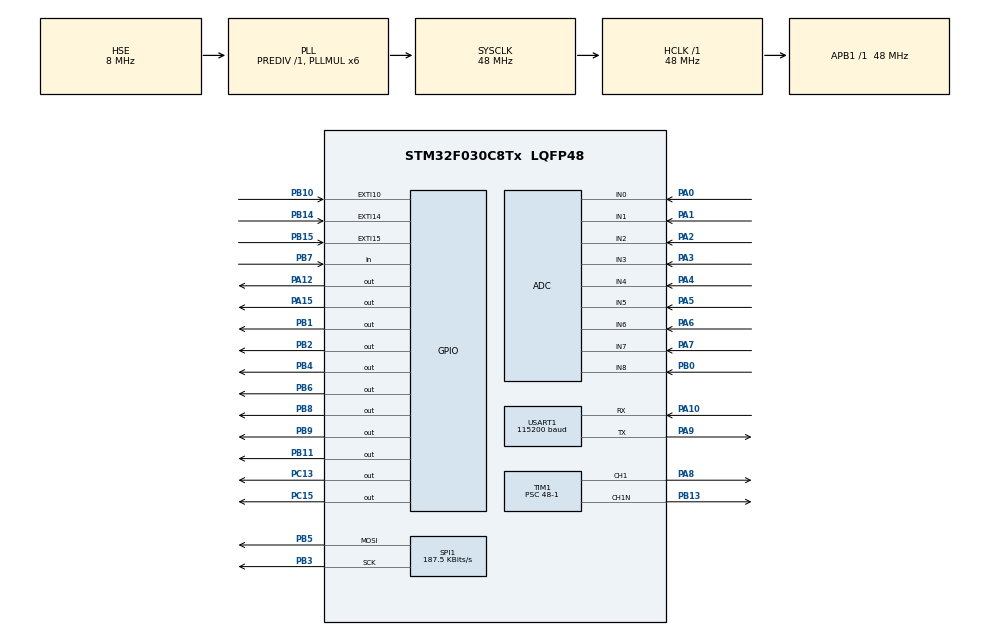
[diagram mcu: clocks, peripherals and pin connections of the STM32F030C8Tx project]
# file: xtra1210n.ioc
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ADC.ContinuousConvMode=ENABLE
ADC.DMAContinuousRequests=ENABLE
ADC.DiscontinuousConvMode=DISABLE
ADC.EOCSelection=ADC_EOC_SINGLE_CONV
ADC.SamplingTime=ADC_SAMPLETIME_239CYCLES_5
Dma.ADC.0.Direction=DMA_PERIPH_TO_MEMORY
Dma.ADC.0.Instance=DMA1_Channel1
Dma.ADC.0.MemDataAlignment=DMA_MDATAALIGN_HALFWORD
Dma.ADC.0.MemInc=DMA_MINC_ENABLE
Dma.ADC.0.Mode=DMA_CIRCULAR
Dma.ADC.0.PeriphDataAlignment=DMA_PDATAALIGN_HALFWORD
Dma.ADC.0.PeriphInc=DMA_PINC_DISABLE
Dma.ADC.0.Priority=DMA_PRIORITY_HIGH
Dma.Request0=ADC
Dma.Request1=USART1_RX
Dma.USART1_RX.1.Direction=DMA_PERIPH_TO_MEMORY
Dma.USART1_RX.1.Instance=DMA1_Channel3
Dma.USART1_RX.1.MemDataAlignment=DMA_MDATAALIGN_BYTE
Dma.USART1_RX.1.MemInc=DMA_MINC_ENABLE
Dma.USART1_RX.1.Mode=DMA_CIRCULAR
Dma.USART1_RX.1.PeriphDataAlignment=DMA_PDATAALIGN_BYTE
Dma.USART1_RX.1.PeriphInc=DMA_PINC_DISABLE
Dma.USART1_RX.1.Priority=DMA_PRIORITY_VERY_HIGH
Mcu.Family=STM32F0
Mcu.Name=STM32F030C8Tx
Mcu.Package=LQFP48
NVIC.DMA1_Channel1_IRQn=true\:0\:0\:false\:false\:true\:false\:true
NVIC.DMA1_Channel2_3_IRQn=true\:0\:0\:false\:false\:true\:false\:true
NVIC.EXTI4_15_IRQn=true\:0\:0\:false\:false\:true\:true\:true
NVIC.RTC_IRQn=true\:0\:0\:false\:false\:true\:true\:true
NVIC.TIM3_IRQn=true\:0\:0\:false\:false\:true\:true\:true
NVIC.USART1_IRQn=true\:0\:0\:false\:false\:true\:true\:true
PA0.Mode=IN0
PA0.Signal=ADC_IN0
PA1.Mode=IN1
PA1.Signal=ADC_IN1
PA10.Mode=Asynchronous
PA10.Signal=USART1_RX
PA12.Signal=GPIO_Output
PA13.Mode=Serial_Wire
PA13.Signal=SYS_SWDIO
PA14.Mode=Serial_Wire
PA14.Signal=SYS_SWCLK
PA15.PinState=GPIO_PIN_SET
PA15.Signal=GPIO_Output
PA2.Mode=IN2
PA2.Signal=ADC_IN2
PA3.Mode=IN3
PA3.Signal=ADC_IN3
PA4.Mode=IN4
PA4.Signal=ADC_IN4
PA5.Mode=IN5
PA5.Signal=ADC_IN5
PA6.Mode=IN6
PA6.Signal=ADC_IN6
PA7.Mode=IN7
PA7.Signal=ADC_IN7
PA8.Signal=S_TIM1_CH1
PA9.Mode=Asynchronous
PA9.Signal=USART1_TX
PB0.Mode=IN8
PB0.Signal=ADC_IN8
PB1.Signal=GPIO_Output
PB10.Signal=GPXTI10
PB11.Signal=GPIO_Output
PB13.Mode=PWM Generation1 CH1 CH1N
PB13.Signal=TIM1_CH1N
PB14.GPIO_ModeDefaultEXTI=GPIO_MODE_IT_FALLING
PB14.GPIO_PuPd=GPIO_PULLUP
PB14.Signal=GPXTI14
PB15.GPIO_ModeDefaultEXTI=GPIO_MODE_IT_FALLING
PB15.GPIO_PuPd=GPIO_PULLUP
PB15.Signal=GPXTI15
PB2.Signal=GPIO_Output
PB3.Mode=TX_Only_Simplex_Unidirect_Master
PB3.Signal=SPI1_SCK
PB4.Signal=GPIO_Output
PB5.Mode=TX_Only_Simplex_Unidirect_Master
PB5.Signal=SPI1_MOSI
PB6.Signal=GPIO_Output
PB7.Signal=GPIO_Input
PB8.Signal=GPIO_Output
PB9.Signal=GPIO_Output
PC13.Signal=GPIO_Output
PC15-OSC32_OUT.Signal=GPIO_Output
PF0-OSC_IN.Mode=HSE-External-Oscillator
PF0-OSC_IN.Signal=RCC_OSC_IN
PF1-OSC_OUT.Mode=HSE-External-Oscillator
PF1-OSC_OUT.Signal=RCC_OSC_OUT
ProjectManager.HeapSize=0x200
ProjectManager.StackSize=0x400
ProjectManager.TargetToolchain=Makefile
RCC.AHBFreq_Value=48000000
RCC.APB1Freq_Value=48000000
RCC.APB1TimFreq_Value=48000000
RCC.HCLKFreq_Value=48000000
RCC.PLLMUL=RCC_PLL_MUL6
RCC.PLLSourceVirtual=RCC_PLLSOURCE_HSE
RCC.SYSCLKFreq_VALUE=48000000
RCC.SYSCLKSource=RCC_SYSCLKSOURCE_PLLCLK
RTC.Alarm-Alarm\ A=RTC_ALARM_A
RTC.AlarmMaskMinutes-Alarm\ A=RTC_ALARMMASK_MINUTES
RTC.AlarmMaskSeconds-Alarm\ A=RTC_ALARMMASK_SECONDS
RTC.Date=17
RTC.DayLightSaving=RTC_DAYLIGHTSAVING_NONE
RTC.Format=RTC_FORMAT_BIN
RTC.Hours=6
RTC.Minutes=3
RTC.Month=RTC_MONTH_MARCH
RTC.WeekDay=RTC_WEEKDAY_WEDNESDAY
SH.S_TIM1_CH1.0=TIM1_CH1,PWM Generation1 CH1 CH1N
SPI1.BaudRatePrescaler=SPI_BAUDRATEPRESCALER_256
SPI1.CLKPhase=SPI_PHASE_2EDGE
SPI1.CLKPolarity=SPI_POLARITY_HIGH
SPI1.CalculateBaudRate=187.5 KBits/s
SPI1.DataSize=SPI_DATASIZE_13BIT
SPI1.Direction=SPI_DIRECTION_2LINES
SPI1.Mode=SPI_MODE_MASTER
SPI1.TIMode=SPI_TIMODE_DISABLE
SPI1.VirtualType=VM_MASTER
TIM1.Channel-PWM\ Generation1\ CH1\ CH1N=TIM_CHANNEL_1
TIM1.DeadTime=128
TIM1.OCIdleState_1=TIM_OCIDLESTATE_RESET
TIM1.OCNIdleState_1=TIM_OCNIDLESTATE_RESET
TIM1.OCNPolarity_1=TIM_OCNPOLARITY_HIGH
TIM1.OCPolarity_1=TIM_OCPOLARITY_HIGH
TIM1.Period=250-1
TIM1.Prescaler=48-1
TIM1.Pulse-PWM\ Generation1\ CH1\ CH1N=200
TIM3.Period=10-1
TIM3.Prescaler=48000-1
USART1.BaudRate=115200
USART1.VirtualMode-Asynchronous=VM_ASYNC
VP_ADC_TempSens_Input.Mode=IN-TempSens
VP_ADC_Vref_Input.Mode=IN-Vrefint
VP_RTC_VS_RTC_Activate.Mode=RTC_Enabled
VP_RTC_VS_RTC_Alarm_A_Intern.Mode=Alarm A
VP_RTC_VS_RTC_Calendar.Mode=RTC_Calendar
VP_TIM1_VS_ClockSourceINT.Mode=Internal
VP_TIM3_VS_ClockSourceINT.Mode=Internal
board=custom

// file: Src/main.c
/* USER CODE BEGIN Header */
/**
  ******************************************************************************
  * @file           : main.c
  * @brief          : Main program body
  ******************************************************************************
  * @attention
  *
  * <h2><center>&copy; Copyright (c) 2021 STMicroelectronics.
  * All rights reserved.</center></h2>
  *
  * This software component is licensed by ST under BSD 3-Clause license,
  * the "License"; You may not use this file except in compliance with the
  * License. You may obtain a copy of the License at:
  *                        opensource.org/licenses/BSD-3-Clause
  *
  ******************************************************************************
  */
/* USER CODE END Header */
#include "main.h"

/* USER CODE BEGIN Includes */
#include "cs1621.h"
#include "values.h"
#include "mppt.h"
#include "adc.h"
#include "buttons.h"
#include "rtc.h"
//#define UART_DEBUG_OUTPUT
/* USER CODE END Includes */

ADC_HandleTypeDef hadc;
DMA_HandleTypeDef hdma_adc;

RTC_HandleTypeDef hrtc;

SPI_HandleTypeDef hspi1;

TIM_HandleTypeDef htim1;
TIM_HandleTypeDef htim3;

UART_HandleTypeDef huart1;
DMA_HandleTypeDef hdma_usart1_rx;

/* USER CODE BEGIN PV */

#define UART_BUFFER_SIZE            256
#define LED_RED_ON                  HAL_GPIO_WritePin(GPIOB, GPIO_PIN_11, GPIO_PIN_SET);
#define LED_RED_OFF                 HAL_GPIO_WritePin(GPIOB, GPIO_PIN_11, GPIO_PIN_RESET);
uint8_t UART_Buffer[UART_BUFFER_SIZE];

uint8_t g_uart_free=0xff;
uint8_t g_isDataReceived=0;
uint8_t g_isUartRestartRequired=0xff;
uint8_t g_readyToSend=0;
uint8_t g_tx_buff[TRASNSMIT_DATA_MAX_LENGTH];
uint8_t g_tx_buff_length;
uint16_t g_adcVals[N_ADC_CHANNELS]={0};

mppt_handle_t hmppt;

/* USER CODE END PV */

void SystemClock_Config(void);
static void MX_GPIO_Init(void);
static void MX_DMA_Init(void);
static void MX_USART1_UART_Init(void);
static void MX_TIM1_Init(void);
static void MX_ADC_Init(void);
static void MX_SPI1_Init(void);
static void MX_RTC_Init(void);
static void MX_TIM3_Init(void);

int main(void)
{
  /* USER CODE BEGIN 1 */

  uint8_t hello[]="HELLO!\r\n";
  //uint8_t buffer[256];
  uint8_t valueToShow=0;
  halfWord_t cnt;
  //uint32_t power, power_max=0;
  //word_t tmp_w;

  /* USER CODE END 1 */

  /* MCU Configuration--------------------------------------------------------*/

  /* Reset of all peripherals, Initializes the Flash interface and the Systick. */
  HAL_Init();

  /* Configure the system clock */
  SystemClock_Config();

  /* Initialize all configured peripherals */
  MX_GPIO_Init();
  MX_DMA_Init();
  MX_USART1_UART_Init();
  MX_TIM1_Init();
  MX_ADC_Init();
  MX_SPI1_Init();
  MX_RTC_Init();
  MX_TIM3_Init();
  /* USER CODE BEGIN 2 */
  // init RTC
  HAL_RTC_AlarmAEventCallback(&hrtc);
  //init values with stored flash
  valuesInit();
  MPPT_Init(&hmppt);
  //swtch on backlight
  HAL_GPIO_WritePin(GPIOB, GPIO_PIN_4, GPIO_PIN_SET);
  //swtch on LEDG
  HAL_GPIO_WritePin(GPIOC, GPIO_PIN_13, GPIO_PIN_RESET);
  //swtch on LEDR
  LED_RED_ON
  HAL_Delay(500);
  //swtch off backlight
  HAL_GPIO_WritePin(GPIOB, GPIO_PIN_4, GPIO_PIN_RESET);
  //swtch off LEDG
  HAL_GPIO_WritePin(GPIOC, GPIO_PIN_13, GPIO_PIN_SET);
  //swtch off LEDR
  LED_RED_OFF

  //start TIM3 (1 second timer for energy computation)
  HAL_TIM_Base_Start_IT(&htim3);

  //__HAL_UART_CLEAR_IDLEFLAG(&huart1);
  //__HAL_UART_ENABLE_IT(&huart1, UART_IT_IDLE);   // enable idle line interrupt

// try
  //HAL_UARTEx_ReceiveToIdle_DMA(&huart1, g_request.buff, RECEIVED_DATA_MAX_LENGTH);
  //HAL_UART_Receive_DMA(&huart1, g_request.buff, RECEIVED_DATA_MAX_LENGTH);

  //hdma_usart1_rx.Instance->CCR &= ~DMA_CCR_HTIE;  // disable uart half tx interru

  HAL_Delay(1000);

  cs1621_init();
  ADC_Start();
  /* USER CODE END 2 */

  /* Infinite loop */
  /* USER CODE BEGIN WHILE */
  cnt.halfWord=0;
  valueToShow=3;
  while (1)
  {
    if (g_isUartRestartRequired){
        HAL_UART_DMAStop(&huart1);
        //HAL_Delay(10);
        huart1.hdmarx->Instance->CNDTR = 0;
        if(HAL_UARTEx_ReceiveToIdle_DMA(&huart1, g_request.buff, RECEIVED_DATA_MAX_LENGTH) == 0){
          g_isUartRestartRequired=0;
        }
    }
    HAL_GPIO_TogglePin(GPIOA, GPIO_PIN_12);
    //
    //cs1621_test(cnt);
    //ADC_Start();
    HAL_Delay(25);
    //HAL_ADC_Stop_DMA(&hadc);
    if(MPPT_Start(&hmppt)==MPPT_OK){
      if(hmppt.isMpptManual==0 && hmppt.isMpptSearchInitialRequest==0 && hmppt.isMpptSearchInProgress==0 ){
        if(MPPT_Adjust(&hmppt, +1)){
          MPPT_Adjust(&hmppt, -1);
        }
      } else {
        if(hmppt.isMpptSearchInitialRequest || hmppt.isMpptSearchInProgress){
          MPPT_SearchMax(&hmppt);
        }
      }
    }
    //battery voltage to display :
    switch(valueToShow){
    case 0:
      //cs1621_showValue(g_adcVals[1]*1967/10000);
      cs1621_showValue(g_realTimeData.par.batteryVoltage/10);
      cs1621_showUnits(CS1621_VOLTAGE);
      cs1621_showSource(CS1621_BATTERY);
      break;
    case 1:
      //cs1621_showValue(g_adcVals[0]*4962/10000);
      cs1621_showValue(g_realTimeData.par.pvArrayVoltage/10);
      cs1621_showUnits(CS1621_VOLTAGE);
      cs1621_showSource(CS1621_PV);
      break;
    case 2:
      //cs1621_showValue((((int16_t) (g_adcVals[5] - 0x170)))*40/1000);
      cs1621_showValue(g_realTimeData.par.batteryCurrent/10);
      //cs1621_showValue(-555);
      cs1621_showUnits(CS1621_CURRENT);
      cs1621_showSource(CS1621_BATTERY);
      break;
    case 3:
      cs1621_showValue(hmppt.pwm);
      cs1621_showUnits(CS1621_UNIT_NA);
      cs1621_showSource(CS1621_TYPE);
      break;

      //unused case
    case 4:
    //shows10.0A
      cs1621_showValue(g_ratedData[VAL_RTD_BATTERY_CURRENT].halfWord/10);
      cs1621_showUnits(CS1621_CURRENT);
      cs1621_showSource(CS1621_TYPE);
      /*shows 25.0
      tmp_w.halfWord.hwLo=g_ratedData[VAL_RTD_BATTERY_POWER_LO];
      tmp_w.halfWord.hwHi=g_ratedData[VAL_RTD_BATTERY_POWER_HI];
      cs1621_showValue(tmp_w.halfWord.hwLo.halfWord/100);
      cs1621_showUnits(CS1621_ENERGY);
      cs1621_showSource(CS1621_TYPE);*/
      break;
    }
    /*
   if(cnt.halfWord<12000){
      cs1621_showValue(MPPT_GetPwm());
      cs1621_showUnits(CS1621_UNIT_NA);
      cs1621_showSource(CS1621_TYPE);

   } else {
      cs1621_showValue(g_realTimeData[VAL_RTD_BATTERY_CURRENT].halfWord/10);
      //cs1621_showValue(-555);
      cs1621_showUnits(CS1621_CURRENT);
      cs1621_showSource(CS1621_BATTERY);
   }*/

    //SELECT BUTTON
    if(g_buttons.eventButt15pressed){
      g_buttons.eventButt15pressed=0;
      if(hmppt.isMpptManual){
        MPPT_Increment(&hmppt, 1);
      } else {
        if(++valueToShow > 3){
          valueToShow = 0;
        };
      }
      /*
      HAL_GPIO_TogglePin(GPIOC, GPIO_PIN_13);
      HAL_GPIO_WritePin(GPIOC, GPIO_PIN_15, GPIO_PIN_SET);
      power_max=0;
      pwm=249-1;
      isPwmSet=0;
      */

    }
    //WTF
    if(HAL_GPIO_ReadPin(GPIOB, GPIO_PIN_7)){
      //HAL_GPIO_WritePin(GPIOB, GPIO_PIN_4, GPIO_PIN_SET);
    } else {
      //HAL_GPIO_WritePin(GPIOB, GPIO_PIN_4, GPIO_PIN_RESET);
    }
    //ENTER BUTTON
    if(g_buttons.eventButt14pressed){
      g_buttons.eventButt14pressed=0;
      if(hmppt.isMpptManual){
        hmppt.isMpptManual=0;
        //swtch off LEDR
        LED_RED_OFF
      } else {
        //swtch on LEDR
        LED_RED_ON
        hmppt.isMpptSearchInitialRequest=0xff;
        //MPPT_Increment(1);
        hmppt.isMpptManual=0xff;
      }

      //HAL_GPIO_TogglePin(GPIOC, GPIO_PIN_13);
      //HAL_GPIO_WritePin(GPIOB, GPIO_PIN_6, GPIO_PIN_SET);
      //power_max=0;
      //isPwmSet=0;
      //if(++pwm > MPPT_MAX_VALUE){
      //  pwm = MPPT_MAX_VALUE;
      //};
    }

    #ifdef UART_DEBUG_OUTPUT
    strcpy(buffer,"");

    for (i = 0; i<N_ADC_CHANNELS; i++) {
      //HAL_Delay(100);
     // HAL_ADC_PollForConversion(&hadc, 100);
      //x[i]=HAL_ADC_GetValue(&hadc);
      //while(!g_uart_free);
      //g_uart_free=0;
      //HAL_GPIO_WritePin(GPIOB, GPIO_PIN_9, GPIO_PIN_SET);
      sprintf(buffer+strlen(buffer), "%01d:%03x ",i , g_adcVals[i]);
      //HAL_UART_Transmit_IT(&huart1, buffer, strlen(buffer));
    }

    //HAL_ADC_Stop(&hadc);
    while(!g_uart_free);
    g_uart_free=0;
    sprintf(buffer+strlen(buffer),hello);
    HAL_GPIO_WritePin(GPIOB, GPIO_PIN_9, GPIO_PIN_SET);
    HAL_UART_Transmit_IT(&huart1, buffer, strlen(buffer));
    #endif
    if(g_isDataReceived){
      g_isDataReceived = 0;
      processMessage(&huart1);
    }
    if(g_readyToSend){
      g_readyToSend=0;
      g_uart_free=0;
      HAL_GPIO_WritePin(GPIOB, GPIO_PIN_9, GPIO_PIN_SET);
      LED_RED_ON
      HAL_UART_Transmit_IT(&huart1, g_tx_buff, g_tx_buff_length);
    }
    if(cnt.halfWord++ > 15000){
      cnt.halfWord=0;
    };
    /*
    if(isPwmSet){
      __HAL_TIM_SetCompare(&htim1, TIM_CHANNEL_1, pwm_opt);
    } else {
      __HAL_TIM_SetCompare(&htim1, TIM_CHANNEL_1, pwm);
    }*/
    //__HAL_TIM_SetCompare(&htim1, TIM_CHANNEL_1, pwm);
    /*if(!(cnt.halfWord % 10)){
      pwm--;
    }*/
  }
    /* USER CODE END WHILE */

}

void SystemClock_Config(void)
{
  RCC_OscInitTypeDef RCC_OscInitStruct = {0};
  RCC_ClkInitTypeDef RCC_ClkInitStruct = {0};
  RCC_PeriphCLKInitTypeDef PeriphClkInit = {0};

  /** Initializes the RCC Oscillators according to the specified parameters
  * in the RCC_OscInitTypeDef structure.
  */
  RCC_OscInitStruct.OscillatorType = RCC_OSCILLATORTYPE_HSI14|RCC_OSCILLATORTYPE_LSI
                              |RCC_OSCILLATORTYPE_HSE;
  RCC_OscInitStruct.HSEState = RCC_HSE_ON;
  RCC_OscInitStruct.HSI14State = RCC_HSI14_ON;
  RCC_OscInitStruct.HSI14CalibrationValue = 16;
  RCC_OscInitStruct.LSIState = RCC_LSI_ON;
  RCC_OscInitStruct.PLL.PLLState = RCC_PLL_ON;
  RCC_OscInitStruct.PLL.PLLSource = RCC_PLLSOURCE_HSE;
  RCC_OscInitStruct.PLL.PLLMUL = RCC_PLL_MUL6;
  RCC_OscInitStruct.PLL.PREDIV = RCC_PREDIV_DIV1;
  if (HAL_RCC_OscConfig(&RCC_OscInitStruct) != HAL_OK)
  {
    Error_Handler();
  }
  /** Initializes the CPU, AHB and APB buses clocks
  */
  RCC_ClkInitStruct.ClockType = RCC_CLOCKTYPE_HCLK|RCC_CLOCKTYPE_SYSCLK
                              |RCC_CLOCKTYPE_PCLK1;
  RCC_ClkInitStruct.SYSCLKSource = RCC_SYSCLKSOURCE_PLLCLK;
  RCC_ClkInitStruct.AHBCLKDivider = RCC_SYSCLK_DIV1;
  RCC_ClkInitStruct.APB1CLKDivider = RCC_HCLK_DIV1;

  if (HAL_RCC_ClockConfig(&RCC_ClkInitStruct, FLASH_LATENCY_1) != HAL_OK)
  {
    Error_Handler();
  }
  PeriphClkInit.PeriphClockSelection = RCC_PERIPHCLK_USART1|RCC_PERIPHCLK_RTC;
  PeriphClkInit.Usart1ClockSelection = RCC_USART1CLKSOURCE_PCLK1;
  PeriphClkInit.RTCClockSelection = RCC_RTCCLKSOURCE_LSI;
  if (HAL_RCCEx_PeriphCLKConfig(&PeriphClkInit) != HAL_OK)
  {
    Error_Handler();
  }
}

static void MX_ADC_Init(void)
{

  ADC_ChannelConfTypeDef sConfig = {0};

  /** Configure the global features of the ADC (Clock, Resolution, Data Alignment and number of conversion)
  */
  hadc.Instance = ADC1;
  hadc.Init.ClockPrescaler = ADC_CLOCK_ASYNC_DIV1;
  hadc.Init.Resolution = ADC_RESOLUTION_12B;
  hadc.Init.DataAlign = ADC_DATAALIGN_RIGHT;
  hadc.Init.ScanConvMode = ADC_SCAN_DIRECTION_FORWARD;
  hadc.Init.EOCSelection = ADC_EOC_SINGLE_CONV;
  hadc.Init.LowPowerAutoWait = DISABLE;
  hadc.Init.LowPowerAutoPowerOff = DISABLE;
  hadc.Init.ContinuousConvMode = ENABLE;
  hadc.Init.DiscontinuousConvMode = DISABLE;
  hadc.Init.ExternalTrigConv = ADC_SOFTWARE_START;
  hadc.Init.ExternalTrigConvEdge = ADC_EXTERNALTRIGCONVEDGE_NONE;
  hadc.Init.DMAContinuousRequests = ENABLE;
  hadc.Init.Overrun = ADC_OVR_DATA_PRESERVED;
  if (HAL_ADC_Init(&hadc) != HAL_OK)
  {
    Error_Handler();
  }
  /** Configure for the selected ADC regular channel to be converted.
  */
  sConfig.Channel = ADC_CHANNEL_0;
  sConfig.Rank = ADC_RANK_CHANNEL_NUMBER;
  sConfig.SamplingTime = ADC_SAMPLETIME_239CYCLES_5;
  if (HAL_ADC_ConfigChannel(&hadc, &sConfig) != HAL_OK)
  {
    Error_Handler();
  }
  /** Configure for the selected ADC regular channel to be converted.
  */
  sConfig.Channel = ADC_CHANNEL_1;
  if (HAL_ADC_ConfigChannel(&hadc, &sConfig) != HAL_OK)
  {
    Error_Handler();
  }
  /** Configure for the selected ADC regular channel to be converted.
  */
  sConfig.Channel = ADC_CHANNEL_2;
  if (HAL_ADC_ConfigChannel(&hadc, &sConfig) != HAL_OK)
  {
    Error_Handler();
  }
  /** Configure for the selected ADC regular channel to be converted.
  */
  sConfig.Channel = ADC_CHANNEL_3;
  if (HAL_ADC_ConfigChannel(&hadc, &sConfig) != HAL_OK)
  {
    Error_Handler();
  }
  /** Configure for the selected ADC regular channel to be converted.
  */
  sConfig.Channel = ADC_CHANNEL_4;
  if (HAL_ADC_ConfigChannel(&hadc, &sConfig) != HAL_OK)
  {
    Error_Handler();
  }
  /** Configure for the selected ADC regular channel to be converted.
  */
  sConfig.Channel = ADC_CHANNEL_5;
  if (HAL_ADC_ConfigChannel(&hadc, &sConfig) != HAL_OK)
  {
    Error_Handler();
  }
  /** Configure for the selected ADC regular channel to be converted.
  */
  sConfig.Channel = ADC_CHANNEL_6;
  if (HAL_ADC_ConfigChannel(&hadc, &sConfig) != HAL_OK)
  {
    Error_Handler();
  }
  /** Configure for the selected ADC regular channel to be converted.
  */
  sConfig.Channel = ADC_CHANNEL_7;
  if (HAL_ADC_ConfigChannel(&hadc, &sConfig) != HAL_OK)
  {
    Error_Handler();
  }
  /** Configure for the selected ADC regular channel to be converted.
  */
  sConfig.Channel = ADC_CHANNEL_8;
  if (HAL_ADC_ConfigChannel(&hadc, &sConfig) != HAL_OK)
  {
    Error_Handler();
  }
  /** Configure for the selected ADC regular channel to be converted.
  */
  sConfig.Channel = ADC_CHANNEL_TEMPSENSOR;
  if (HAL_ADC_ConfigChannel(&hadc, &sConfig) != HAL_OK)
  {
    Error_Handler();
  }
  /** Configure for the selected ADC regular channel to be converted.
  */
  sConfig.Channel = ADC_CHANNEL_VREFINT;
  if (HAL_ADC_ConfigChannel(&hadc, &sConfig) != HAL_OK)
  {
    Error_Handler();
  }

}

static void MX_RTC_Init(void)
{

  RTC_TimeTypeDef sTime = {0};
  RTC_DateTypeDef sDate = {0};
  RTC_AlarmTypeDef sAlarm = {0};

  /** Initialize RTC Only
  */
  hrtc.Instance = RTC;
  hrtc.Init.HourFormat = RTC_HOURFORMAT_24;
  hrtc.Init.AsynchPrediv = 127;
  hrtc.Init.SynchPrediv = 255;
  hrtc.Init.OutPut = RTC_OUTPUT_DISABLE;
  hrtc.Init.OutPutPolarity = RTC_OUTPUT_POLARITY_HIGH;
  hrtc.Init.OutPutType = RTC_OUTPUT_TYPE_OPENDRAIN;
  if (HAL_RTC_Init(&hrtc) != HAL_OK)
  {
    Error_Handler();
  }

  /** Initialize RTC and set the Time and Date
  */
  sTime.Hours = 6;
  sTime.Minutes = 3;
  sTime.Seconds = 0;
  sTime.DayLightSaving = RTC_DAYLIGHTSAVING_NONE;
  sTime.StoreOperation = RTC_STOREOPERATION_RESET;
  if (HAL_RTC_SetTime(&hrtc, &sTime, RTC_FORMAT_BIN) != HAL_OK)
  {
    Error_Handler();
  }
  sDate.WeekDay = RTC_WEEKDAY_WEDNESDAY;
  sDate.Month = RTC_MONTH_MARCH;
  sDate.Date = 17;
  sDate.Year = 0;

  if (HAL_RTC_SetDate(&hrtc, &sDate, RTC_FORMAT_BIN) != HAL_OK)
  {
    Error_Handler();
  }
  /** Enable the Alarm A
  */
  sAlarm.AlarmTime.Hours = 0;
  sAlarm.AlarmTime.Minutes = 0;
  sAlarm.AlarmTime.Seconds = 0;
  sAlarm.AlarmTime.SubSeconds = 0;
  sAlarm.AlarmTime.DayLightSaving = RTC_DAYLIGHTSAVING_NONE;
  sAlarm.AlarmTime.StoreOperation = RTC_STOREOPERATION_RESET;
  sAlarm.AlarmMask = RTC_ALARMMASK_MINUTES|RTC_ALARMMASK_SECONDS;
  sAlarm.AlarmSubSecondMask = RTC_ALARMSUBSECONDMASK_ALL;
  sAlarm.AlarmDateWeekDaySel = RTC_ALARMDATEWEEKDAYSEL_DATE;
  sAlarm.AlarmDateWeekDay = 1;
  sAlarm.Alarm = RTC_ALARM_A;
  if (HAL_RTC_SetAlarm_IT(&hrtc, &sAlarm, RTC_FORMAT_BIN) != HAL_OK)
  {
    Error_Handler();
  }
  /* USER CODE BEGIN RTC_Init 2 */
  if (rtcSynchroSetTime() != HAL_OK)
  {
    Error_Handler();
  }
  /* USER CODE END RTC_Init 2 */

}

static void MX_SPI1_Init(void)
{

  /* SPI1 parameter configuration*/
  hspi1.Instance = SPI1;
  hspi1.Init.Mode = SPI_MODE_MASTER;
  hspi1.Init.Direction = SPI_DIRECTION_2LINES;
  hspi1.Init.DataSize = SPI_DATASIZE_13BIT;
  hspi1.Init.CLKPolarity = SPI_POLARITY_HIGH;
  hspi1.Init.CLKPhase = SPI_PHASE_2EDGE;
  hspi1.Init.NSS = SPI_NSS_SOFT;
  hspi1.Init.BaudRatePrescaler = SPI_BAUDRATEPRESCALER_256;
  hspi1.Init.FirstBit = SPI_FIRSTBIT_MSB;
  hspi1.Init.TIMode = SPI_TIMODE_DISABLE;
  hspi1.Init.CRCCalculation = SPI_CRCCALCULATION_DISABLE;
  hspi1.Init.CRCPolynomial = 7;
  hspi1.Init.CRCLength = SPI_CRC_LENGTH_DATASIZE;
  hspi1.Init.NSSPMode = SPI_NSS_PULSE_DISABLE;
  if (HAL_SPI_Init(&hspi1) != HAL_OK)
  {
    Error_Handler();
  }

}

static void MX_TIM1_Init(void)
{

  TIM_ClockConfigTypeDef sClockSourceConfig = {0};
  TIM_MasterConfigTypeDef sMasterConfig = {0};
  TIM_OC_InitTypeDef sConfigOC = {0};
  TIM_BreakDeadTimeConfigTypeDef sBreakDeadTimeConfig = {0};

  htim1.Instance = TIM1;
  htim1.Init.Prescaler = 48-1;
  htim1.Init.CounterMode = TIM_COUNTERMODE_UP;
  htim1.Init.Period = 250-1;
  htim1.Init.ClockDivision = TIM_CLOCKDIVISION_DIV1;
  htim1.Init.RepetitionCounter = 0;
  htim1.Init.AutoReloadPreload = TIM_AUTORELOAD_PRELOAD_DISABLE;
  if (HAL_TIM_Base_Init(&htim1) != HAL_OK)
  {
    Error_Handler();
  }
  sClockSourceConfig.ClockSource = TIM_CLOCKSOURCE_INTERNAL;
  if (HAL_TIM_ConfigClockSource(&htim1, &sClockSourceConfig) != HAL_OK)
  {
    Error_Handler();
  }
  if (HAL_TIM_PWM_Init(&htim1) != HAL_OK)
  {
    Error_Handler();
  }
  sMasterConfig.MasterOutputTrigger = TIM_TRGO_RESET;
  sMasterConfig.MasterSlaveMode = TIM_MASTERSLAVEMODE_DISABLE;
  if (HAL_TIMEx_MasterConfigSynchronization(&htim1, &sMasterConfig) != HAL_OK)
  {
    Error_Handler();
  }
  sConfigOC.OCMode = TIM_OCMODE_PWM1;
  sConfigOC.Pulse = 200;
  sConfigOC.OCPolarity = TIM_OCPOLARITY_HIGH;
  sConfigOC.OCNPolarity = TIM_OCNPOLARITY_HIGH;
  sConfigOC.OCFastMode = TIM_OCFAST_DISABLE;
  sConfigOC.OCIdleState = TIM_OCIDLESTATE_RESET;
  sConfigOC.OCNIdleState = TIM_OCNIDLESTATE_RESET;
  if (HAL_TIM_PWM_ConfigChannel(&htim1, &sConfigOC, TIM_CHANNEL_1) != HAL_OK)
  {
    Error_Handler();
  }
  sBreakDeadTimeConfig.OffStateRunMode = TIM_OSSR_DISABLE;
  sBreakDeadTimeConfig.OffStateIDLEMode = TIM_OSSI_DISABLE;
  sBreakDeadTimeConfig.LockLevel = TIM_LOCKLEVEL_OFF;
  sBreakDeadTimeConfig.DeadTime = 128;
  sBreakDeadTimeConfig.BreakState = TIM_BREAK_DISABLE;
  sBreakDeadTimeConfig.BreakPolarity = TIM_BREAKPOLARITY_HIGH;
  sBreakDeadTimeConfig.AutomaticOutput = TIM_AUTOMATICOUTPUT_DISABLE;
  if (HAL_TIMEx_ConfigBreakDeadTime(&htim1, &sBreakDeadTimeConfig) != HAL_OK)
  {
    Error_Handler();
  }
  HAL_TIM_MspPostInit(&htim1);

}

static void MX_TIM3_Init(void)
{

  TIM_ClockConfigTypeDef sClockSourceConfig = {0};
  TIM_MasterConfigTypeDef sMasterConfig = {0};

  htim3.Instance = TIM3;
  htim3.Init.Prescaler = 48000-1;
  htim3.Init.CounterMode = TIM_COUNTERMODE_UP;
  htim3.Init.Period = 10-1;
  htim3.Init.ClockDivision = TIM_CLOCKDIVISION_DIV1;
  htim3.Init.AutoReloadPreload = TIM_AUTORELOAD_PRELOAD_DISABLE;
  if (HAL_TIM_Base_Init(&htim3) != HAL_OK)
  {
    Error_Handler();
  }
  sClockSourceConfig.ClockSource = TIM_CLOCKSOURCE_INTERNAL;
  if (HAL_TIM_ConfigClockSource(&htim3, &sClockSourceConfig) != HAL_OK)
  {
    Error_Handler();
  }
  sMasterConfig.MasterOutputTrigger = TIM_TRGO_RESET;
  sMasterConfig.MasterSlaveMode = TIM_MASTERSLAVEMODE_DISABLE;
  if (HAL_TIMEx_MasterConfigSynchronization(&htim3, &sMasterConfig) != HAL_OK)
  {
    Error_Handler();
  }

}

static void MX_USART1_UART_Init(void)
{

  huart1.Instance = USART1;
  huart1.Init.BaudRate = 115200;
  huart1.Init.WordLength = UART_WORDLENGTH_8B;
  huart1.Init.StopBits = UART_STOPBITS_1;
  huart1.Init.Parity = UART_PARITY_NONE;
  huart1.Init.Mode = UART_MODE_TX_RX;
  huart1.Init.HwFlowCtl = UART_HWCONTROL_NONE;
  huart1.Init.OverSampling = UART_OVERSAMPLING_16;
  huart1.Init.OneBitSampling = UART_ONE_BIT_SAMPLE_DISABLE;
  huart1.AdvancedInit.AdvFeatureInit = UART_ADVFEATURE_NO_INIT;
  if (HAL_UART_Init(&huart1) != HAL_OK)
  {
    Error_Handler();
  }

}

static void MX_DMA_Init(void)
{

  /* DMA controller clock enable */
  __HAL_RCC_DMA1_CLK_ENABLE();

  /* DMA interrupt init */
  /* DMA1_Channel1_IRQn interrupt configuration */
  HAL_NVIC_SetPriority(DMA1_Channel1_IRQn, 0, 0);
  HAL_NVIC_EnableIRQ(DMA1_Channel1_IRQn);
  /* DMA1_Channel2_3_IRQn interrupt configuration */
  HAL_NVIC_SetPriority(DMA1_Channel2_3_IRQn, 0, 0);
  HAL_NVIC_EnableIRQ(DMA1_Channel2_3_IRQn);

}

static void MX_GPIO_Init(void)
{
  GPIO_InitTypeDef GPIO_InitStruct = {0};

  /* GPIO Ports Clock Enable */
  __HAL_RCC_GPIOC_CLK_ENABLE();
  __HAL_RCC_GPIOF_CLK_ENABLE();
  __HAL_RCC_GPIOA_CLK_ENABLE();
  __HAL_RCC_GPIOB_CLK_ENABLE();

  /*Configure GPIO pin Output Level */
  HAL_GPIO_WritePin(GPIOC, GPIO_PIN_13|GPIO_PIN_15, GPIO_PIN_RESET);

  /*Configure GPIO pin Output Level */
  HAL_GPIO_WritePin(GPIOB, GPIO_PIN_1|GPIO_PIN_2|GPIO_PIN_11|GPIO_PIN_4
                          |GPIO_PIN_6|GPIO_PIN_8|GPIO_PIN_9, GPIO_PIN_RESET);

  /*Configure GPIO pin Output Level */
  HAL_GPIO_WritePin(GPIOA, GPIO_PIN_12, GPIO_PIN_RESET);

  /*Configure GPIO pin Output Level */
  HAL_GPIO_WritePin(GPIOA, GPIO_PIN_15, GPIO_PIN_SET);

  /*Configure GPIO pins : PC13 PC15 */
  GPIO_InitStruct.Pin = GPIO_PIN_13|GPIO_PIN_15;
  GPIO_InitStruct.Mode = GPIO_MODE_OUTPUT_PP;
  GPIO_InitStruct.Pull = GPIO_NOPULL;
  GPIO_InitStruct.Speed = GPIO_SPEED_FREQ_LOW;
  HAL_GPIO_Init(GPIOC, &GPIO_InitStruct);

  /*Configure GPIO pins : PB1 PB2 PB11 PB4
                           PB6 PB8 PB9 */
  GPIO_InitStruct.Pin = GPIO_PIN_1|GPIO_PIN_2|GPIO_PIN_11|GPIO_PIN_4
                          |GPIO_PIN_6|GPIO_PIN_8|GPIO_PIN_9;
  GPIO_InitStruct.Mode = GPIO_MODE_OUTPUT_PP;
  GPIO_InitStruct.Pull = GPIO_NOPULL;
  GPIO_InitStruct.Speed = GPIO_SPEED_FREQ_LOW;
  HAL_GPIO_Init(GPIOB, &GPIO_InitStruct);

  /*Configure GPIO pin : PB10 */
  GPIO_InitStruct.Pin = GPIO_PIN_10;
  GPIO_InitStruct.Mode = GPIO_MODE_IT_RISING;
  GPIO_InitStruct.Pull = GPIO_NOPULL;
  HAL_GPIO_Init(GPIOB, &GPIO_InitStruct);

  /*Configure GPIO pins : PB14 PB15 */
  GPIO_InitStruct.Pin = GPIO_PIN_14|GPIO_PIN_15;
  GPIO_InitStruct.Mode = GPIO_MODE_IT_FALLING;
  GPIO_InitStruct.Pull = GPIO_PULLUP;
  HAL_GPIO_Init(GPIOB, &GPIO_InitStruct);

  /*Configure GPIO pins : PA12 PA15 */
  GPIO_InitStruct.Pin = GPIO_PIN_12|GPIO_PIN_15;
  GPIO_InitStruct.Mode = GPIO_MODE_OUTPUT_PP;
  GPIO_InitStruct.Pull = GPIO_NOPULL;
  GPIO_InitStruct.Speed = GPIO_SPEED_FREQ_LOW;
  HAL_GPIO_Init(GPIOA, &GPIO_InitStruct);

  /*Configure GPIO pin : PB7 */
  GPIO_InitStruct.Pin = GPIO_PIN_7;
  GPIO_InitStruct.Mode = GPIO_MODE_INPUT;
  GPIO_InitStruct.Pull = GPIO_NOPULL;
  HAL_GPIO_Init(GPIOB, &GPIO_InitStruct);

  /* EXTI interrupt init*/
  HAL_NVIC_SetPriority(EXTI4_15_IRQn, 0, 0);
  HAL_NVIC_EnableIRQ(EXTI4_15_IRQn);

}

/* USER CODE BEGIN 4 */
void HAL_UART_TxCpltCallback(UART_HandleTypeDef *huart)
{
  HAL_GPIO_WritePin(GPIOB, GPIO_PIN_9, GPIO_PIN_RESET);
  LED_RED_OFF
  g_uart_free=0xff;
}
void HAL_UART_ErrorCallback(UART_HandleTypeDef *huart)
{
  g_uart_free=0xff;
}
void HAL_TIM_PeriodElapsedCallback(TIM_HandleTypeDef *htim)
{
  static uint32_t cnt=0;
  hmppt.timer10ms=cnt;
  if( htim == &htim3 ){
    if( (cnt % 60000) == 0 ){
      hmppt.isMpptSearchInitialRequest=0xff;
      //temporary test
      g_isUartRestartRequired=0xff;
    }
    if( (cnt % 100) == 0 ){
      updateRealTimeValues(&hmppt);
    }
    cnt++;
  }
}

/* USER CODE END 4 */

void Error_Handler(void)
{
  __disable_irq();
  while (1)
  {
  }
}

/************************ (C) COPYRIGHT STMicroelectronics *****END OF FILE****/
